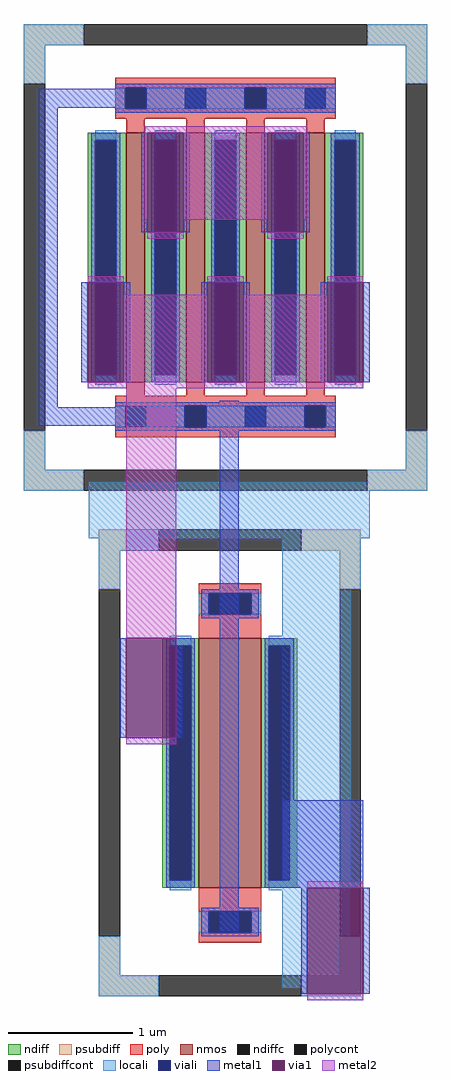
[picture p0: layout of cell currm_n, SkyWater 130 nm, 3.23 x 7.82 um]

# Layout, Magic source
magic
tech sky130A
magscale 1 2
<< poly >>
rect 122 622 476 638
rect 122 588 138 622
rect 172 588 330 622
rect 364 588 476 622
rect 122 572 476 588
rect 122 112 476 128
rect 122 78 234 112
rect 268 78 426 112
rect 460 78 476 112
rect 122 62 476 78
<< polycont >>
rect 138 588 172 622
rect 330 588 364 622
rect 234 78 268 112
rect 426 78 460 112
<< locali >>
rect 122 588 138 622
rect 172 588 330 622
rect 364 588 476 622
rect 122 78 234 112
rect 268 78 426 112
rect 460 78 476 112
rect 80 -100 530 -10
rect 390 -820 500 -100
<< viali >>
rect 138 588 172 622
rect 330 588 364 622
rect 234 78 268 112
rect 426 78 460 112
<< metal1 >>
rect 122 622 476 628
rect 122 620 138 622
rect 0 590 138 620
rect 0 110 30 590
rect 122 588 138 590
rect 172 588 330 622
rect 364 588 476 622
rect 122 582 476 588
rect 164 390 174 550
rect 232 390 242 550
rect 356 390 366 550
rect 424 390 434 550
rect 68 150 78 310
rect 136 150 146 310
rect 260 150 270 310
rect 328 150 338 310
rect 452 150 462 310
rect 520 150 530 310
rect 290 118 320 120
rect 122 112 476 118
rect 122 110 234 112
rect 0 80 234 110
rect 122 78 234 80
rect 268 78 426 112
rect 460 78 476 112
rect 122 72 476 78
rect 130 -420 140 -260
rect 220 -420 230 -260
rect 290 -730 320 72
rect 390 -660 520 -520
rect 420 -830 430 -660
rect 520 -830 530 -660
<< via1 >>
rect 174 390 232 550
rect 366 390 424 550
rect 78 150 136 310
rect 270 150 328 310
rect 462 150 520 310
rect 140 -420 220 -260
rect 430 -830 520 -660
<< metal2 >>
rect 170 550 430 560
rect 170 410 174 550
rect 232 410 366 550
rect 174 380 232 390
rect 424 410 430 550
rect 366 380 424 390
rect 78 310 136 320
rect 270 310 328 320
rect 136 150 270 290
rect 462 310 520 320
rect 328 150 462 290
rect 78 140 520 150
rect 140 -260 220 140
rect 140 -430 220 -420
rect 430 -660 520 -650
rect 430 -840 520 -830
use sky130_fd_pr__nfet_01v8_82JNGJ  sky130_fd_pr__nfet_01v8_82JNGJ_0
transform 1 0 299 0 1 350
box -359 -410 359 410
use sky130_fd_pr__nfet_01v8_PJG2KG  sky130_fd_pr__nfet_01v8_PJG2KG_0
transform 1 0 306 0 1 -460
box -246 -410 246 410
<< end >>

# cell sky130_fd_pr__nfet_01v8_82JNGJ: kit device sky130_fd_pr__nfet_01v8, w 2 l 0.150 m 1 nf 4 diffcov 100 polycov 100 guard 1 glc 1 grc 1 gtc 1 gbc 1 tbcov 100 rlcov 100 topc 1 botc 1 poverlap 0 doverlap 1 lmin 0.15 wmin 0.42 compatible {sky130_fd_pr__nfet_01v8 sky130_fd_pr__nfet_01v8_lvt sky130_fd_bs_flash__special_sonosfet_star sky130_fd_pr__nfet_g5v0d10v5 sky130_fd_pr__nfet_05v0_nvt sky130_fd_pr__nfet_03v3_nvt} full_metal 1 viasrc 100 viadrn 100 viagate 100 viagb 0 viagr 0 viagl 0 viagt 0

# cell sky130_fd_pr__nfet_01v8_PJG2KG: kit device sky130_fd_pr__nfet_01v8, w 2 l 0.5 m 1 nf 1 diffcov 100 polycov 100 guard 1 glc 1 grc 1 gtc 1 gbc 1 tbcov 100 rlcov 100 topc 1 botc 1 poverlap 0 doverlap 1 lmin 0.15 wmin 0.42 compatible {sky130_fd_pr__nfet_01v8 sky130_fd_pr__nfet_01v8_lvt sky130_fd_bs_flash__special_sonosfet_star sky130_fd_pr__nfet_g5v0d10v5 sky130_fd_pr__nfet_05v0_nvt sky130_fd_pr__nfet_03v3_nvt} full_metal 1 viasrc 100 viadrn 100 viagate 100 viagb 0 viagr 0 viagl 0 viagt 0
